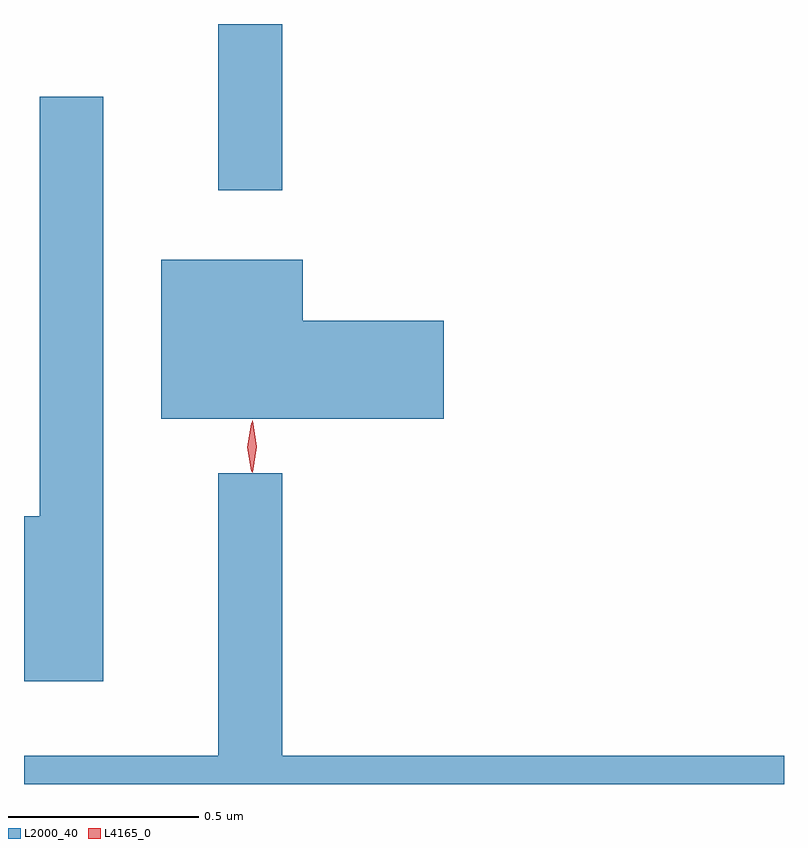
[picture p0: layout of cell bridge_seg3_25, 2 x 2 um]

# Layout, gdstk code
import gdstk
lib = gdstk.Library(unit=1e-6, precision=1e-09)
def R(c, l, rs):  # rectangles x0, y0, x1, y1
    for r in rs: c.add(gdstk.rectangle(r[:2], r[2:], *l))
def P(c, l, *ps):  # polygons
    for p in ps: c.add(gdstk.Polygon(p, *l))
L2000_40 = (2000, 40)
L4165_0 = (4165, 0)

bridge_seg3_25 = lib.new_cell('bridge_seg3_25')
R(bridge_seg3_25, L2000_40, [(1344.881,1183.273,1345.049,1183.71)])
P(bridge_seg3_25, L2000_40, [(1344.579,1183.518),(1344.411,1183.518),(1344.411,1182.414),(1344.37,1182.414),(1344.37,1181.981),(1344.579,1181.981)],
  [(1345.474,1182.929),(1345.104,1182.929),(1345.104,1183.089),(1344.731,1183.089),(1344.731,1182.671),(1345.474,1182.671)],
  [(1346.37,1181.784),(1345.049,1181.784),(1345.049,1182.528),(1344.881,1182.528),(1344.881,1181.784),(1344.37,1181.784),(1344.37,1181.71),(1346.37,1181.71)])
P(bridge_seg3_25, L4165_0, [(1344.971,1182.53),(1344.962,1182.598),(1344.971,1182.666),(1344.972,1182.666),(1344.972,1182.666),(1344.982,1182.598),(1344.972,1182.53),(1344.972,1182.53)],
  [(1344.968,1182.533),(1344.968,1182.533),(1344.958,1182.596),(1344.968,1182.659),(1344.968,1182.66),(1344.969,1182.659),(1344.978,1182.596),(1344.969,1182.533)])

lib.write_gds('bridge_seg3_25.gds')
